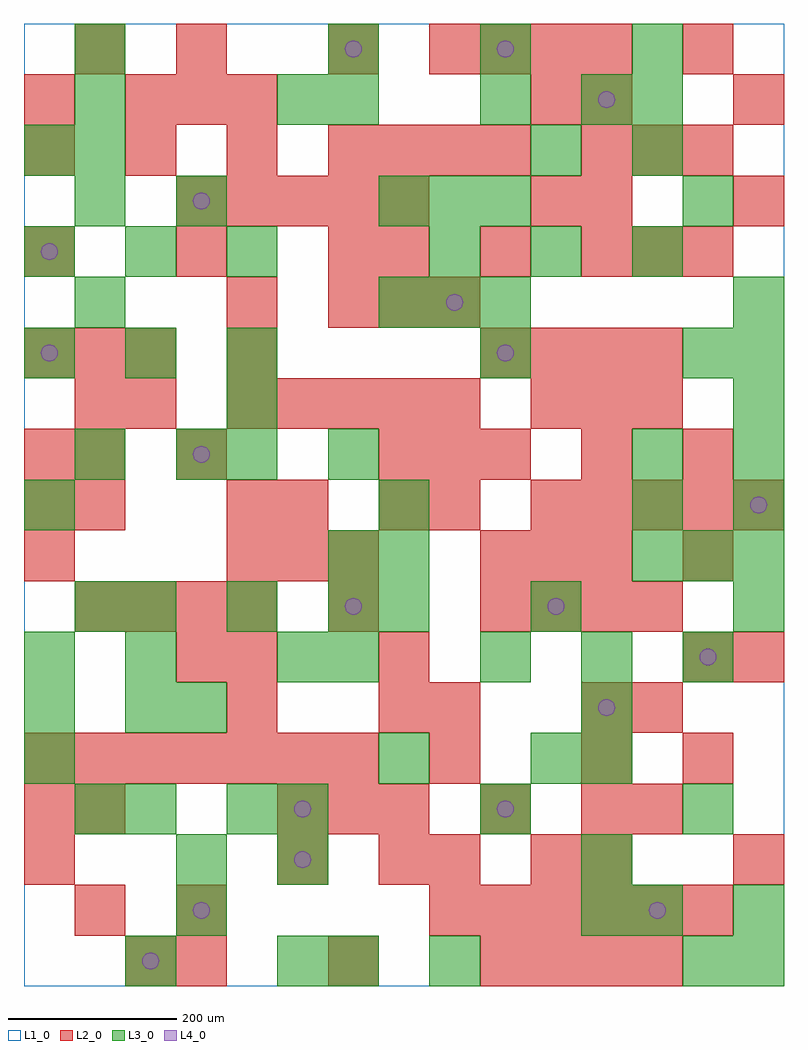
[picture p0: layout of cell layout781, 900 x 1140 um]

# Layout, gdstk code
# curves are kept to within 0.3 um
import gdstk
lib = gdstk.Library(unit=1e-6, precision=1e-09)
def R(c, l, rs):  # rectangles x0, y0, x1, y1
    for r in rs: c.add(gdstk.rectangle(r[:2], r[2:], *l))
def A(c, l, x, y, w, h, nx, ny, dx, dy):  # array of equal rectangles
    R(c, l, [(x+i*dx, y+j*dy, x+i*dx+w, y+j*dy+h) for i in range(nx) for j in range(ny)])
def P(c, l, *ps):  # polygons
    for p in ps: c.add(gdstk.Polygon(p, *l))
L1_0 = (1, 0)
L2_0 = (2, 0)
L3_0 = (3, 0)
L4_0 = (4, 0)

layout781 = lib.new_cell('layout781')
R(layout781, L1_0, [(0,0,900,1140)])
A(layout781, L2_0, 180, 0, 60, 60, 3, 1, 180, 0)
A(layout781, L2_0, 600, 0, 60, 60, 3, 2, 60, 660)
A(layout781, L2_0, 480, 60, 60, 60, 6, 1, 60, 0)
A(layout781, L2_0, 660, 120, 60, 60, 1, 4, 0, 60)
A(layout781, L2_0, 300, 180, 60, 60, 3, 1, 60, 0)
A(layout781, L2_0, 0, 240, 60, 60, 7, 1, 60, 0)
A(layout781, L2_0, 780, 240, 60, 60, 1, 4, 0, 120)
A(layout781, L2_0, 240, 360, 60, 60, 1, 3, 0, 180)
A(layout781, L2_0, 60, 420, 60, 60, 4, 1, 60, 0)
A(layout781, L2_0, 540, 420, 60, 60, 4, 2, 60, 300)
A(layout781, L2_0, 0, 480, 60, 60, 1, 3, 0, 60)
A(layout781, L2_0, 240, 480, 60, 60, 3, 1, 60, 0)
A(layout781, L2_0, 540, 480, 60, 60, 3, 1, 60, 0)
A(layout781, L2_0, 60, 540, 60, 60, 1, 3, 0, 60)
A(layout781, L2_0, 600, 540, 60, 60, 5, 1, 60, 0)
A(layout781, L2_0, 420, 600, 60, 60, 3, 2, 60, 360)
A(layout781, L2_0, 240, 660, 60, 60, 5, 1, 60, 0)
A(layout781, L2_0, 0, 720, 60, 60, 3, 1, 60, 0)
A(layout781, L2_0, 360, 780, 60, 60, 3, 1, 60, 0)
A(layout781, L2_0, 0, 840, 60, 60, 3, 1, 180, 0)
A(layout781, L2_0, 420, 840, 60, 60, 3, 1, 120, 0)
A(layout781, L2_0, 180, 900, 60, 60, 5, 1, 60, 0)
A(layout781, L2_0, 0, 960, 60, 60, 4, 1, 120, 0)
A(layout781, L2_0, 660, 960, 60, 60, 3, 1, 60, 0)
A(layout781, L2_0, 120, 1020, 60, 60, 3, 1, 60, 0)
A(layout781, L2_0, 480, 1080, 60, 60, 4, 1, 60, 0)
R(layout781, L2_0, [(120,0,180,60), (60,60,120,120), (180,60,240,120), (0,120,60,180), (300,120,360,180), (420,120,480,180), (480,120,540,180), (600,120,660,180), (840,120,900,180), (0,180,60,240), (60,180,120,240), (540,180,600,240), (720,180,780,240), (480,240,540,300), (240,300,300,360), (420,300,480,360), (480,300,540,360), (720,300,780,360), (180,360,240,420), (420,360,480,420), (840,360,900,420), (360,420,420,480), (300,540,360,600), (420,540,480,600), (480,540,540,600), (180,600,240,660), (660,600,720,660), (120,660,180,720), (240,780,300,840), (720,840,780,900), (780,840,840,900), (600,900,660,960), (660,900,720,960), (840,900,900,960), (0,1020,60,1080), (600,1020,660,1080), (660,1020,720,1080), (840,1020,900,1080), (60,1080,120,1140), (180,1080,240,1140), (360,1080,420,1140), (780,1080,840,1140)])
A(layout781, L3_0, 300, 180, 60, 60, 3, 1, 240, 0)
A(layout781, L3_0, 0, 240, 60, 60, 1, 3, 0, 60)
A(layout781, L3_0, 180, 300, 60, 60, 1, 3, 0, 300)
A(layout781, L3_0, 360, 360, 60, 60, 1, 3, 0, 120)
A(layout781, L3_0, 540, 360, 60, 60, 3, 1, 120, 0)
A(layout781, L3_0, 60, 420, 60, 60, 1, 3, 0, 180)
A(layout781, L3_0, 120, 420, 60, 60, 3, 1, 120, 0)
A(layout781, L3_0, 420, 420, 60, 60, 1, 3, 0, 60)
A(layout781, L3_0, 720, 480, 60, 60, 3, 1, 60, 0)
A(layout781, L3_0, 840, 540, 60, 60, 1, 5, 0, 60)
A(layout781, L3_0, 0, 720, 60, 60, 3, 2, 120, 120)
A(layout781, L3_0, 420, 780, 60, 60, 3, 2, 60, 120)
A(layout781, L3_0, 480, 840, 60, 60, 3, 1, 120, 0)
A(layout781, L3_0, 60, 900, 60, 60, 1, 4, 0, 60)
A(layout781, L3_0, 360, 1080, 60, 60, 3, 1, 180, 0)
R(layout781, L3_0, [(120,0,180,60), (300,0,360,60), (360,0,420,60), (480,0,540,60), (780,0,840,60), (840,0,900,60), (180,60,240,120), (660,60,720,120), (720,60,780,120), (840,60,900,120), (180,120,240,180), (300,120,360,180), (660,120,720,180), (60,180,120,240), (120,180,180,240), (240,180,300,240), (420,240,480,300), (600,240,660,300), (660,240,720,300), (120,300,180,360), (660,300,720,360), (120,360,180,420), (300,360,360,420), (600,420,660,480), (840,420,900,480), (0,540,60,600), (720,540,780,600), (240,600,300,660), (720,600,780,660), (240,660,300,720), (540,720,600,780), (780,720,840,780), (780,900,840,960), (0,960,60,1020), (600,960,660,1020), (720,960,780,1020), (300,1020,360,1080), (360,1020,420,1080), (540,1020,600,1080), (660,1020,720,1080), (720,1020,780,1080)])
P(layout781, L4_0, [(40,750),(39.239,753.827),(37.071,757.071),(33.827,759.239),(30,760),(26.173,759.239),(22.929,757.071),(20.761,753.827),(20,750),(20.761,746.173),(22.929,742.929),(26.173,740.761),(30,740),(33.827,740.761),(37.071,742.929),(39.239,746.173)],
  [(40,870),(39.239,873.827),(37.071,877.071),(33.827,879.239),(30,880),(26.173,879.239),(22.929,877.071),(20.761,873.827),(20,870),(20.761,866.173),(22.929,862.929),(26.173,860.761),(30,860),(33.827,860.761),(37.071,862.929),(39.239,866.173)],
  [(160,30),(159.239,33.827),(157.071,37.071),(153.827,39.239),(150,40),(146.173,39.239),(142.929,37.071),(140.761,33.827),(140,30),(140.761,26.173),(142.929,22.929),(146.173,20.761),(150,20),(153.827,20.761),(157.071,22.929),(159.239,26.173)],
  [(220,90),(219.239,93.827),(217.071,97.071),(213.827,99.239),(210,100),(206.173,99.239),(202.929,97.071),(200.761,93.827),(200,90),(200.761,86.173),(202.929,82.929),(206.173,80.761),(210,80),(213.827,80.761),(217.071,82.929),(219.239,86.173)],
  [(220,630),(219.239,633.827),(217.071,637.071),(213.827,639.239),(210,640),(206.173,639.239),(202.929,637.071),(200.761,633.827),(200,630),(200.761,626.173),(202.929,622.929),(206.173,620.761),(210,620),(213.827,620.761),(217.071,622.929),(219.239,626.173)],
  [(220,930),(219.239,933.827),(217.071,937.071),(213.827,939.239),(210,940),(206.173,939.239),(202.929,937.071),(200.761,933.827),(200,930),(200.761,926.173),(202.929,922.929),(206.173,920.761),(210,920),(213.827,920.761),(217.071,922.929),(219.239,926.173)],
  [(340,150),(339.239,153.827),(337.071,157.071),(333.827,159.239),(330,160),(326.173,159.239),(322.929,157.071),(320.761,153.827),(320,150),(320.761,146.173),(322.929,142.929),(326.173,140.761),(330,140),(333.827,140.761),(337.071,142.929),(339.239,146.173)],
  [(340,210),(339.239,213.827),(337.071,217.071),(333.827,219.239),(330,220),(326.173,219.239),(322.929,217.071),(320.761,213.827),(320,210),(320.761,206.173),(322.929,202.929),(326.173,200.761),(330,200),(333.827,200.761),(337.071,202.929),(339.239,206.173)],
  [(400,450),(399.239,453.827),(397.071,457.071),(393.827,459.239),(390,460),(386.173,459.239),(382.929,457.071),(380.761,453.827),(380,450),(380.761,446.173),(382.929,442.929),(386.173,440.761),(390,440),(393.827,440.761),(397.071,442.929),(399.239,446.173)],
  [(400,1110),(399.239,1113.827),(397.071,1117.071),(393.827,1119.239),(390,1120),(386.173,1119.239),(382.929,1117.071),(380.761,1113.827),(380,1110),(380.761,1106.173),(382.929,1102.929),(386.173,1100.761),(390,1100),(393.827,1100.761),(397.071,1102.929),(399.239,1106.173)],
  [(520,810),(519.239,813.827),(517.071,817.071),(513.827,819.239),(510,820),(506.173,819.239),(502.929,817.071),(500.761,813.827),(500,810),(500.761,806.173),(502.929,802.929),(506.173,800.761),(510,800),(513.827,800.761),(517.071,802.929),(519.239,806.173)],
  [(580,210),(579.239,213.827),(577.071,217.071),(573.827,219.239),(570,220),(566.173,219.239),(562.929,217.071),(560.761,213.827),(560,210),(560.761,206.173),(562.929,202.929),(566.173,200.761),(570,200),(573.827,200.761),(577.071,202.929),(579.239,206.173)],
  [(580,750),(579.239,753.827),(577.071,757.071),(573.827,759.239),(570,760),(566.173,759.239),(562.929,757.071),(560.761,753.827),(560,750),(560.761,746.173),(562.929,742.929),(566.173,740.761),(570,740),(573.827,740.761),(577.071,742.929),(579.239,746.173)],
  [(580,1110),(579.239,1113.827),(577.071,1117.071),(573.827,1119.239),(570,1120),(566.173,1119.239),(562.929,1117.071),(560.761,1113.827),(560,1110),(560.761,1106.173),(562.929,1102.929),(566.173,1100.761),(570,1100),(573.827,1100.761),(577.071,1102.929),(579.239,1106.173)],
  [(640,450),(639.239,453.827),(637.071,457.071),(633.827,459.239),(630,460),(626.173,459.239),(622.929,457.071),(620.761,453.827),(620,450),(620.761,446.173),(622.929,442.929),(626.173,440.761),(630,440),(633.827,440.761),(637.071,442.929),(639.239,446.173)],
  [(700,330),(699.239,333.827),(697.071,337.071),(693.827,339.239),(690,340),(686.173,339.239),(682.929,337.071),(680.761,333.827),(680,330),(680.761,326.173),(682.929,322.929),(686.173,320.761),(690,320),(693.827,320.761),(697.071,322.929),(699.239,326.173)],
  [(700,1050),(699.239,1053.827),(697.071,1057.071),(693.827,1059.239),(690,1060),(686.173,1059.239),(682.929,1057.071),(680.761,1053.827),(680,1050),(680.761,1046.173),(682.929,1042.929),(686.173,1040.761),(690,1040),(693.827,1040.761),(697.071,1042.929),(699.239,1046.173)],
  [(760,90),(759.239,93.827),(757.071,97.071),(753.827,99.239),(750,100),(746.173,99.239),(742.929,97.071),(740.761,93.827),(740,90),(740.761,86.173),(742.929,82.929),(746.173,80.761),(750,80),(753.827,80.761),(757.071,82.929),(759.239,86.173)],
  [(820,390),(819.239,393.827),(817.071,397.071),(813.827,399.239),(810,400),(806.173,399.239),(802.929,397.071),(800.761,393.827),(800,390),(800.761,386.173),(802.929,382.929),(806.173,380.761),(810,380),(813.827,380.761),(817.071,382.929),(819.239,386.173)],
  [(880,570),(879.239,573.827),(877.071,577.071),(873.827,579.239),(870,580),(866.173,579.239),(862.929,577.071),(860.761,573.827),(860,570),(860.761,566.173),(862.929,562.929),(866.173,560.761),(870,560),(873.827,560.761),(877.071,562.929),(879.239,566.173)])

lib.write_gds('layout781.gds')
